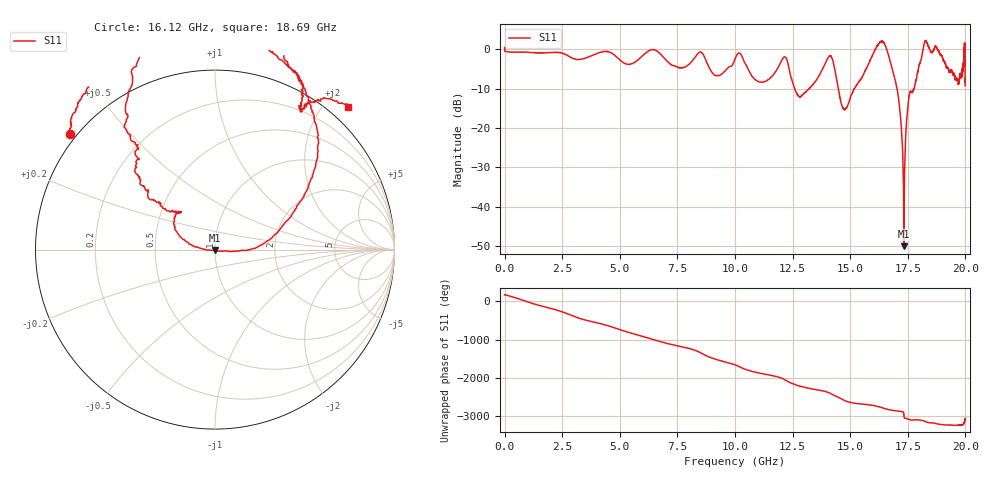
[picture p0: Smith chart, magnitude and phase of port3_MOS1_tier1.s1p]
! Created with skrf 1.8.0 (http://scikit-rf.org).
# GHz S RI R 50.0
!freq ReS11 ImS11
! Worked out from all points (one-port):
!   10001 points, 1 MHz to 20 GHz, reference 50 ohm
!   lowest |S11| = -50.0 dB at 17.33 GHz (marker M1), VSWR 1.01, Z = 50.2 - j0.276 ohm
!   |S11| at or under -10 dB: 12.59 GHz to 13.22 GHz (623.7 MHz wide, 4.83 % of centre); 14.48 GHz to 15.19 GHz (702 MHz wide, 4.73 % of centre); 17.03 GHz to 17.77 GHz (734.3 MHz wide, 4.22 % of centre)
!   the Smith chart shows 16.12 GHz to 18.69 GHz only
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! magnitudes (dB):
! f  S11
! 1 MHz  0.5
! 2.501 GHz  -1.0
! 5.001 GHz  -2.7
! 6.455 GHz  -0.1
! 7.501 GHz  -4.5
! 8.509 GHz  -0.7
! 9.265 GHz  -6.7
! 10 GHz  -2.4
! 10.23 GHz  -1.1
! 11.16 GHz  -8.3
! 12.16 GHz  -1.9
! 12.5 GHz  -8.4
! 12.89 GHz  -11.8
! 14.13 GHz  -1.7
! 14.68 GHz  -14.8
! 15 GHz  -12.4
! 16.45 GHz  1.7
! 17.04 GHz  -10.1
! 17.18 GHz  -16.9
! 17.27 GHz  -24.9
! 17.33 GHz  -50.0
! 17.4 GHz  -23.2
! 17.5 GHz  -14.9
! 18.27 GHz  2.2
! 18.77 GHz  0.2
! 19.64 GHz  -7.4
! 19.89 GHz  -5.6
! 20 GHz  -9.2
